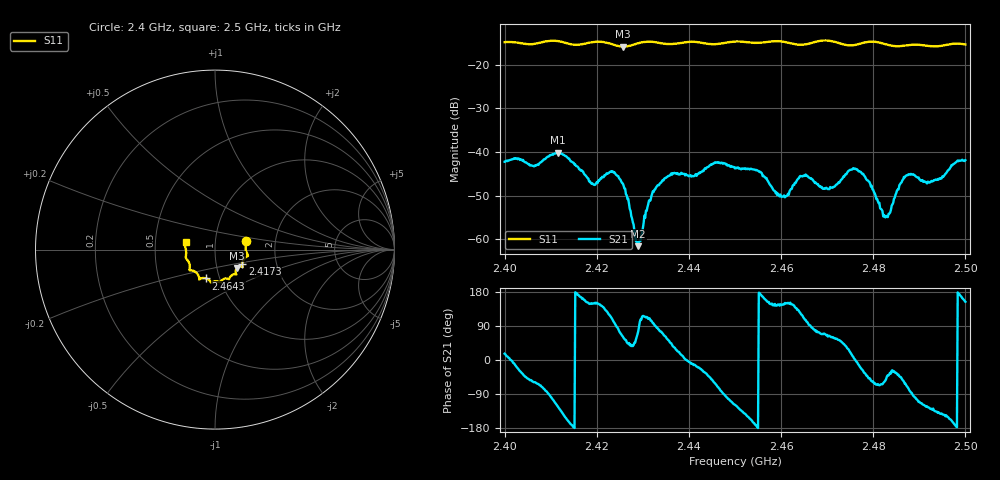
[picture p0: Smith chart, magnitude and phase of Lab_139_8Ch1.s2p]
# Hz S RI R 50
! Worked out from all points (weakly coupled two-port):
!   601 points, 2.4 GHz to 2.5 GHz, reference 50 ohm
!   highest |S21| = -40.16 dB at 2.4115 GHz (marker M1); lowest = -61.5 dB at 2.429 GHz (marker M2)
!   lowest |S11| = -15.9 dB at 2.4257 GHz (marker M3), VSWR 1.38, Z = 62.4 - j13.1 ohm
!   |S11| at or under -10 dB: start of sweep to end of sweep
!   S12 and S22 are empty: the file has one direction only
!   S11 on the Smith chart (normalised r, x): 2.4 GHz: 1.41, +0.14; 2.4173 GHz: 1.34, -0.23; 2.4643 GHz: 0.86, -0.28; 2.5 GHz: 0.72, +0.06
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2.4e9  0.1733 0.0493  0.0074 0.00222  0 0  0 0
2.4065e9  0.1723 -0.00447  0.00361 -0.00587  0 0  0 0
2.4115e9  0.182 -0.0363  -0.00523 -0.00831  0 0  0 0
2.416667e9  0.1527 -0.0744  -0.00601 0.00163  0 0  0 0
2.417333e9  0.1522 -0.0818  -0.00515 0.00201  0 0  0 0
2.419333e9  0.1536 -0.0959  -0.00365 0.00215  0 0  0 0
2.423333e9  0.1428 -0.0936  -0.00188 0.0056  0 0  0 0
2.425667e9  0.1226 -0.1023  0.00205 0.00384  0 0  0 0
2.429e9  0.1159 -0.1312  0.000204 0.000814  0 0  0 0
2.433333e9  0.1129 -0.1369  0.000644 0.00414  0 0  0 0
2.445833e9  0.0491 -0.1638  0.00331 -0.00678  0 0  0 0
2.45e9  0.0295 -0.1808  -0.00307 -0.00572  0 0  0 0
2.455167e9  0.000297 -0.177  -0.00603 0.000267  0 0  0 0
2.4605e9  -0.0248 -0.1808  -0.00263 0.00167  0 0  0 0
2.464333e9  -0.0499 -0.1605  -0.00269 0.00456  0 0  0 0
2.466667e9  -0.0758 -0.1597  0.000399 0.00488  0 0  0 0
2.470667e9  -0.087 -0.1646  0.00187 0.00351  0 0  0 0
2.476167e9  -0.1182 -0.119  0.00643 -0.000154  0 0  0 0
2.483333e9  -0.1407 -0.0898  0.00149 -0.00128  0 0  0 0
2.487167e9  -0.156 -0.0553  0.00209 -0.00496  0 0  0 0
2.492e9  -0.161 -0.0253  -0.00261 -0.00372  0 0  0 0
2.5e9  -0.1641 0.0422  -0.00723 0.00357  0 0  0 0
